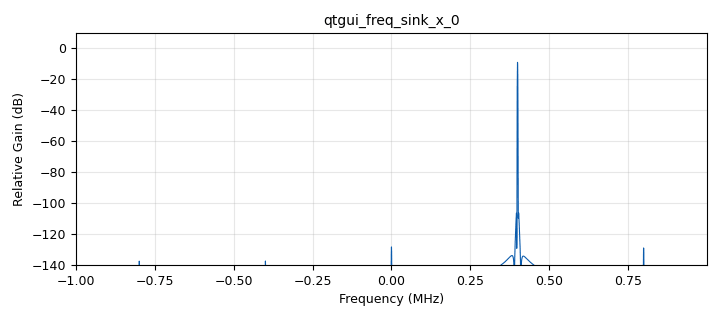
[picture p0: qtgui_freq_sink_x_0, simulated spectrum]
options:
  parameters:
    author: popo
    generate_options: qt_gui
    id: mequieromorir
    output_language: python
    title: mequieromorirdotexe
  states: {}

blocks:
- name: samp_rate
  id: variable
  parameters:
    value: '32000'
  states: {}
- name: analog_sig_source_x_0
  id: analog_sig_source_x
  parameters:
    amp: '1'
    freq: '400000'
    offset: '0'
    phase: '0'
    samp_rate: '2000000'
    type: complex
    waveform: analog.GR_COS_WAVE
  states: {}
- name: blocks_throttle2_0
  id: blocks_throttle2
  parameters:
    samples_per_second: '2000000'
    type: complex
  states: {}
- name: qtgui_freq_sink_x_0
  id: qtgui_freq_sink_x
  parameters:
    bw: '2000000'
    fc: '0'
    fftsize: '4096'
    type: complex
  states: {}

connections:
- [analog_sig_source_x_0, '0', blocks_throttle2_0, '0']
- [blocks_throttle2_0, '0', qtgui_freq_sink_x_0, '0']

metadata:
  file_format: 1
  grc_version: 3.10.9.2
